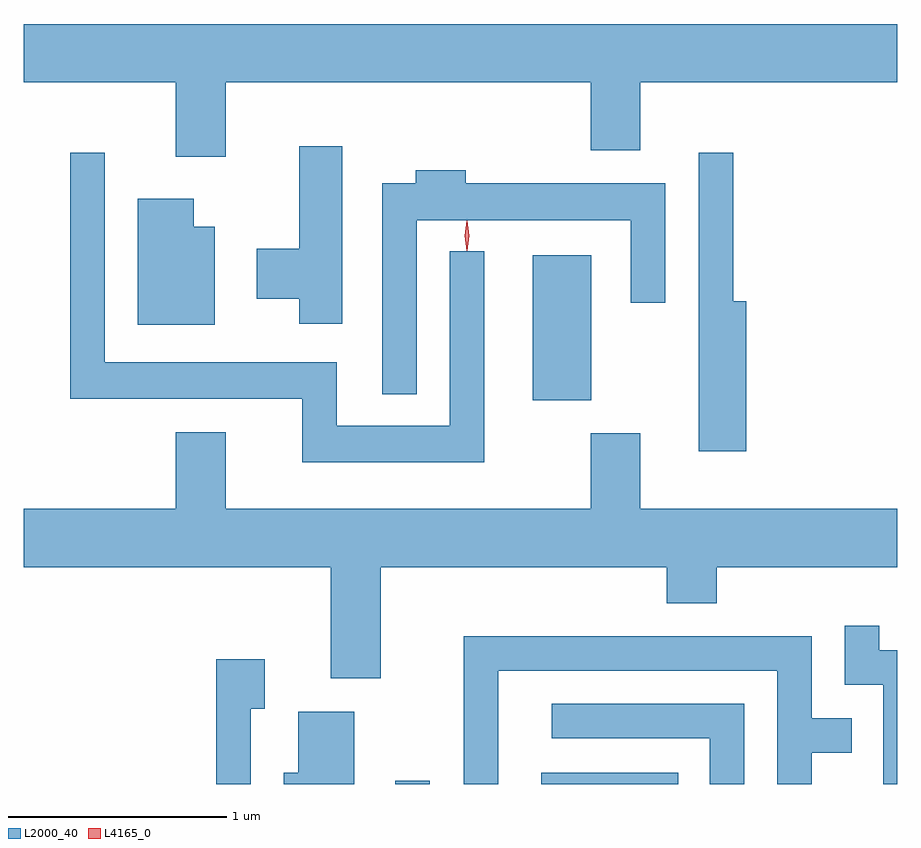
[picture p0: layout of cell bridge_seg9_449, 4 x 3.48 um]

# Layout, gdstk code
import gdstk
lib = gdstk.Library(unit=1e-6, precision=1e-09)
def R(c, l, rs):  # rectangles x0, y0, x1, y1
    for r in rs: c.add(gdstk.rectangle(r[:2], r[2:], *l))
def P(c, l, *ps):  # polygons
    for p in ps: c.add(gdstk.Polygon(p, *l))
L2000_40 = (2000, 40)
L4165_0 = (4165, 0)

bridge_seg9_449 = lib.new_cell('bridge_seg9_449')
R(bridge_seg9_449, L2000_40, [(579.446,1975.282,579.604,1975.298), (580.116,1975.282,580.743,1975.334), (580.076,1977.041,580.344,1977.704)])
P(bridge_seg9_449, L2000_40, [(578.669,1978.496),(580.341,1978.496),(580.341,1978.186),(580.569,1978.186),(580.569,1978.496),(581.745,1978.496),(581.745,1978.764),(577.745,1978.764),(577.745,1978.496),(578.441,1978.496),(578.441,1978.156),(578.669,1978.156)],
  [(579.204,1978.204),(579.006,1978.204),(579.006,1977.734),(578.811,1977.734),(578.811,1977.506),(579.006,1977.506),(579.006,1977.391),(579.204,1977.391)],
  [(581.054,1977.494),(580.994,1977.494),(580.994,1978.173),(580.836,1978.173),(580.836,1976.806),(581.054,1976.806)],
  [(579.854,1977.723),(579.696,1977.723),(579.696,1976.924),(579.179,1976.924),(579.179,1977.214),(578.114,1977.214),(578.114,1978.173),(577.956,1978.173),(577.956,1977.046),(579.021,1977.046),(579.021,1976.756),(579.854,1976.756)],
  [(579.544,1977.866),(580.526,1977.866),(580.526,1977.488),(580.684,1977.488),(580.684,1978.034),(579.769,1978.034),(579.769,1978.094),(579.541,1978.094),(579.541,1978.034),(579.386,1978.034),(579.386,1977.068),(579.544,1977.068)],
  [(578.619,1977.834),(578.524,1977.834),(578.524,1977.964),(578.266,1977.964),(578.266,1977.386),(578.619,1977.386)],
  [(579.379,1976.276),(580.691,1976.276),(580.691,1976.111),(580.919,1976.111),(580.919,1976.276),(581.745,1976.276),(581.745,1976.544),(580.569,1976.544),(580.569,1976.889),(580.341,1976.889),(580.341,1976.544),(578.669,1976.544),(578.669,1976.894),(578.441,1976.894),(578.441,1976.544),(577.745,1976.544),(577.745,1976.276),(579.151,1976.276),(579.151,1975.766),(579.379,1975.766)],
  [(581.745,1975.894),(581.664,1975.894),(581.664,1976.008),(581.506,1976.008),(581.506,1975.736),(581.681,1975.736),(581.681,1975.282),(581.745,1975.282)],
  [(579.919,1975.801),(581.196,1975.801),(581.196,1975.282),(581.354,1975.282),(581.354,1975.426),(581.538,1975.426),(581.538,1975.584),(581.354,1975.584),(581.354,1975.959),(579.761,1975.959),(579.761,1975.282),(579.919,1975.282)],
  [(578.784,1975.626),(578.849,1975.626),(578.849,1975.854),(578.626,1975.854),(578.626,1975.282),(578.784,1975.282)],
  [(581.044,1975.649),(580.163,1975.649),(580.163,1975.491),(580.886,1975.491),(580.886,1975.282),(581.044,1975.282)],
  [(579.259,1975.614),(579.001,1975.614),(579.001,1975.334),(578.936,1975.334),(578.936,1975.282),(579.259,1975.282)])
P(bridge_seg9_449, L4165_0, [(579.774,1977.727),(579.765,1977.794),(579.774,1977.86),(579.775,1977.861),(579.775,1977.86),(579.785,1977.794),(579.775,1977.727),(579.775,1977.727)],
  [(579.774,1977.724),(579.765,1977.793),(579.774,1977.863),(579.775,1977.863),(579.775,1977.863),(579.785,1977.793),(579.775,1977.724),(579.775,1977.724)])

lib.write_gds('bridge_seg9_449.gds')
